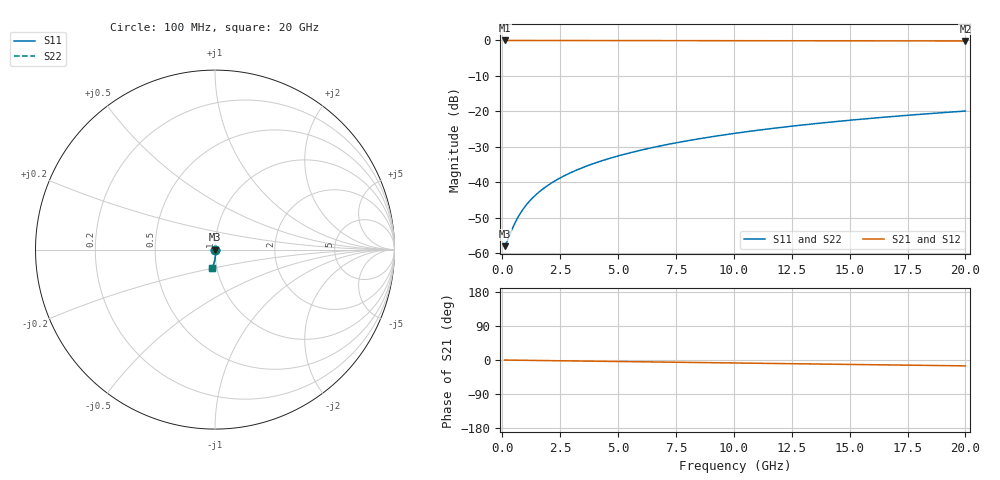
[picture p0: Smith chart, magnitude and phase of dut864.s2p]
! Touchstone file exported from HFSS 2026.1.0
!  File:  C:/ffzhzh/LocalFiles/Ansys_Project_Files/temp_train_TMRDL_864_1783157202_22436.aedt
!  Generated:  05:27:47 PM Jul  4, 2026
!  Design:  TMRDL
!  Project:  temp_train_TMRDL_864_1783157202_22436
! Variables:
!  h_bsmrdl = 2um
!  h_ox = 20um
!  h_rdl = 5um
!  h_sub = 80um
!  h_tmrdl = 3.18um
!  h_tsv = 80um
!  h_via = 3um
!  l_bsmrdl = 300um
!  l_sub = 641.29um
!  l_tmrdl = 241.29um
!  m_sub = 200um
!  pitch = 30.76um
!  r_tsv = 6um
!  s_tmrdl = 10um
!  w_bsmrdl = 18um
!  w_sub = 500um
!  w_tmrdl = 29.35um
!  x_tsv_center1 = 255.965um
!  x_tsv_center2 = 573.965um
!  x_tsv_center3 = 844.605um
!  x_tsv_center4 = 1162.605um
!  x_tsv_center5 = 1433.245um
!  x_tsv_center6 = 1751.245um
# GHz S MA R 50.000000
! Terminal data exported
! Port[1] = TM_RDL1_1_T1
! Port[2] = TM_RDL1_1_T2
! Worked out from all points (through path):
!   200 points, 100 MHz to 20 GHz, reference 50 ohm
!   highest |S21| = -0.01 dB at 100 MHz (marker M1); lowest = -0.1 dB at 20 GHz (marker M2)
!   group delay of S21, straight-line fit = 2.14 ps
!   lowest |S11| = -58.0 dB at 100 MHz (marker M3), VSWR 1.00, Z = 50.1 - j0.0109 ohm
!   |S11| at or under -10 dB: start of sweep to end of sweep
!   |S22| runs from -58.0 to -19.9 dB; largest |S21 - S12| = 1.3e-14
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0.1  0.001258 -4.9  0.9987 -0.1  0.9987 -0.1  0.001258 -4.9
! Gamma 0 0 0 0
! Port Impedance 50 0 50 0
0.2  0.001455 -11.2  0.9986 -0.2  0.9986 -0.2  0.001455 -11.2
0.5  0.002478 -32.6  0.9979 -0.5  0.9979 -0.5  0.002478 -32.6
0.7  0.003312 -43.6  0.9976 -0.6  0.9976 -0.6  0.003312 -43.6
0.8  0.003746 -47.9  0.9974 -0.7  0.9974 -0.7  0.003746 -47.9
1  0.004633 -54.7  0.9972 -0.9  0.9972 -0.9  0.004633 -54.7
1.3  0.005987 -61.8  0.997 -1.1  0.997 -1.1  0.005986 -61.8
1.5  0.006899 -65.1  0.9969 -1.2  0.9969 -1.2  0.006899 -65.1
1.7  0.007817 -67.8  0.9968 -1.4  0.9968 -1.4  0.007817 -67.8
2.2  0.01013 -72.5  0.9966 -1.8  0.9966 -1.8  0.01013 -72.5
2.8  0.01294 -76.1  0.9963 -2.3  0.9963 -2.3  0.01294 -76.1
3.5  0.01626 -78.9  0.996 -2.8  0.996 -2.8  0.01626 -78.9
4.2  0.01963 -80.9  0.9956 -3.4  0.9956 -3.4  0.01962 -80.9
5  0.02352 -82.6  0.9951 -4.0  0.9951 -4.0  0.02352 -82.6
5.9  0.02796 -84.1  0.9945 -4.7  0.9945 -4.7  0.02795 -84.2
6.8  0.03245 -85.4  0.9938 -5.4  0.9938 -5.4  0.03245 -85.5
8.3  0.04005 -87.3  0.9927 -6.6  0.9927 -6.6  0.04005 -87.3
10.1  0.04932 -89.3  0.9913 -8.0  0.9913 -8.0  0.04932 -89.3
11.7  0.05764 -90.9  0.99 -9.2  0.99 -9.2  0.05764 -91.0
13.4  0.06653 -92.6  0.9886 -10.5  0.9886 -10.5  0.06653 -92.7
16.7  0.08382 -95.8  0.9858 -13.0  0.9858 -13.0  0.08381 -95.8
20  0.101 -98.8  0.9829 -15.5  0.9829 -15.5  0.101 -98.8
